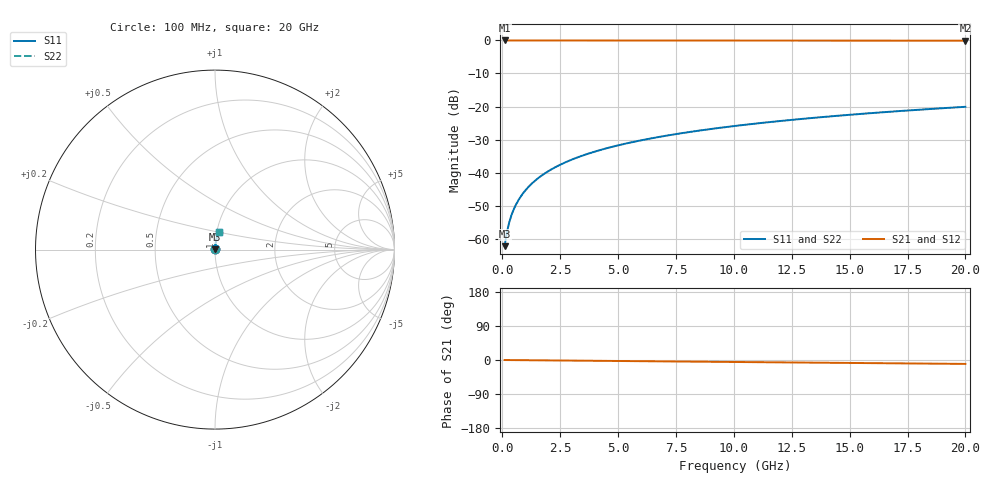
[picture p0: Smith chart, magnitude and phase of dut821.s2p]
! Touchstone file exported from HFSS 2026.1.0
!  File:  C:/ffzhzh/LocalFiles/Ansys_Project_Files/temp_train_TMRDL_821_1783156466_18472.aedt
!  Generated:  05:15:37 PM Jul  4, 2026
!  Design:  TMRDL
!  Project:  temp_train_TMRDL_821_1783156466_18472
! Variables:
!  h_bsmrdl = 2um
!  h_ox = 20um
!  h_rdl = 5um
!  h_sub = 80um
!  h_tmrdl = 6um
!  h_tsv = 80um
!  h_via = 3um
!  l_bsmrdl = 300um
!  l_sub = 526.56um
!  l_tmrdl = 126.56um
!  m_sub = 200um
!  pitch = 42.29um
!  r_tsv = 6um
!  s_tmrdl = 10um
!  w_bsmrdl = 18um
!  w_sub = 500um
!  w_tmrdl = 18.88um
!  x_tsv_center1 = 136um
!  x_tsv_center2 = 454um
!  x_tsv_center3 = 599.44um
!  x_tsv_center4 = 917.44um
!  x_tsv_center5 = 1062.88um
!  x_tsv_center6 = 1380.88um
# GHz S MA R 50.000000
! Terminal data exported
! Port[1] = TM_RDL1_1_T1
! Port[2] = TM_RDL1_1_T2
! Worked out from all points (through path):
!   200 points, 100 MHz to 20 GHz, reference 50 ohm
!   highest |S21| = 0.00 dB at 100 MHz (marker M1); lowest = -0.1 dB at 20 GHz (marker M2)
!   group delay of S21, straight-line fit = 1.43 ps
!   lowest |S11| = -62.2 dB at 100 MHz (marker M3), VSWR 1.00, Z = 50.1 + j0.0573 ohm
!   |S11| at or under -10 dB: start of sweep to end of sweep
!   |S22| runs from -62.2 to -20.1 dB; largest |S21 - S12| = 4.4e-15
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0.1  0.0007721 47.8  0.9995 -0.1  0.9995 -0.1  0.0007721 47.8
! Gamma 0 0 0 0
! Port Impedance 50 0 50 0
0.2  0.001258 64.2  0.9995 -0.1  0.9995 -0.1  0.001258 64.2
0.3  0.001776 70.9  0.9994 -0.2  0.9994 -0.2  0.001776 70.9
0.4  0.002297 74.4  0.9994 -0.2  0.9994 -0.2  0.002297 74.4
0.5  0.002815 76.7  0.9994 -0.3  0.9994 -0.3  0.002815 76.7
0.7  0.003848 79.5  0.9993 -0.4  0.9993 -0.4  0.003848 79.5
0.8  0.004365 80.4  0.9993 -0.4  0.9993 -0.4  0.004365 80.4
1  0.0054 81.8  0.9992 -0.5  0.9992 -0.5  0.0054 81.8
1.2  0.006438 82.6  0.9992 -0.6  0.9992 -0.6  0.006438 82.6
1.4  0.007476 83.2  0.9992 -0.8  0.9992 -0.8  0.007476 83.2
1.7  0.009034 83.8  0.9991 -0.9  0.9991 -0.9  0.009034 83.8
2  0.01059 84.2  0.9991 -1.1  0.9991 -1.1  0.01059 84.2
2.7  0.0142 84.5  0.9989 -1.4  0.9989 -1.4  0.0142 84.5
3.5  0.0183 84.5  0.9987 -1.9  0.9987 -1.9  0.0183 84.5
4.2  0.02185 84.4  0.9985 -2.2  0.9985 -2.2  0.02185 84.4
5  0.02587 84.2  0.9982 -2.6  0.9982 -2.6  0.02587 84.2
6.8  0.03484 83.6  0.9977 -3.6  0.9977 -3.6  0.03484 83.6
8.3  0.04226 83.0  0.9972 -4.3  0.9972 -4.3  0.04226 83.0
10.1  0.05112 82.3  0.9965 -5.3  0.9965 -5.3  0.05112 82.3
13.4  0.06726 80.9  0.9953 -7.0  0.9953 -7.0  0.06726 80.9
16.7  0.08327 79.5  0.9938 -8.6  0.9938 -8.6  0.08327 79.5
20  0.0991 77.9  0.992 -10.3  0.992 -10.3  0.0991 77.9
